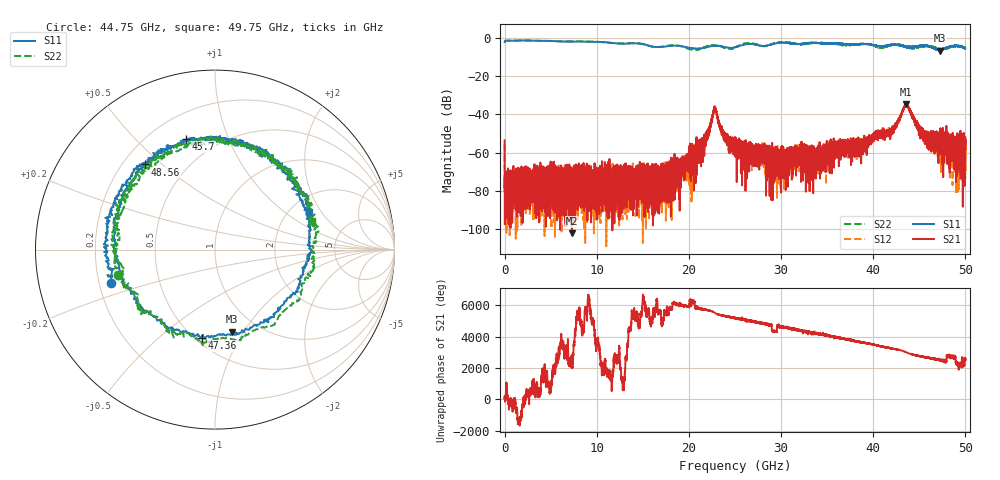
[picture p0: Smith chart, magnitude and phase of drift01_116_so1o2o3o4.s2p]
!Created with skrf (http://scikit-rf.org).
# Hz S RI R 50.0
!freq ReS11 ImS11 ReS21 ImS21 ReS12 ImS12 ReS22 ImS22
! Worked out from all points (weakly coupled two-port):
!   10001 points, 300 kHz to 50 GHz, reference 50 ohm
!   highest |S21| = -34.66 dB at 43.59 GHz (marker M1); lowest = -102.0 dB at 7.3 GHz (marker M2)
!   lowest |S11| = -6.6 dB at 47.21 GHz (marker M3), VSWR 2.75, Z = 38.1 - j44.5 ohm
!   |S11| at or under -10 dB: nowhere
!   |S22| runs from -6.4 to -1.4 dB; largest |S21 - S12| = 0.0036
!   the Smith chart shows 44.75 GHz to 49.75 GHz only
!   S11 on the Smith chart (normalised r, x): 44.75 GHz: 0.25, -0.15; 45.7 GHz: 0.34, +0.71; 47.36 GHz: 0.54, -0.71; 48.56 GHz: 0.29, +0.44; 49.75 GHz: 2.52, +1.53
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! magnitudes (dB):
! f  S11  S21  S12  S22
! 300 kHz  -2.2  -53.5  -55.5  -2.1
! 255.3 MHz  -1.4  -77.7  -76.1  -1.4
! 7.3 GHz  -1.9  -102.0  -75.6  -1.9
! 8.335 GHz  -1.9  -72.4  -73.1  -1.8
! 16.67 GHz  -4.8  -86.5  -74.6  -4.8
! 20.78 GHz  -5.5  -62.7  -60.6  -6.2
! 21.93 GHz  -4.9  -51.7  -49.2  -4.5
! 22.79 GHz  -4.3  -36.6  -36.3  -4.0
! 23.86 GHz  -4.8  -52.9  -50.9  -5.2
! 25 GHz  -5.0  -55.9  -56.7  -5.0
! 29.54 GHz  -2.8  -65.0  -65.2  -2.6
! 33.34 GHz  -2.6  -65.9  -64.1  -2.7
! 38.47 GHz  -3.4  -56.6  -57.4  -3.2
! 41.67 GHz  -3.9  -50.4  -48.6  -4.4
! 43.59 GHz  -4.8  -34.7  -35.0  -4.8
! 44.75 GHz  -4.3  -47.0  -45.1  -5.0
! 45.7 GHz  -3.9  -51.7  -50.9  -4.1
! 47.21 GHz  -6.6  -49.5  -52.5  -5.9
! 47.36 GHz  -6.1  -53.7  -51.5  -5.9
! 48.56 GHz  -4.3  -55.6  -57.7  -4.6
! 49.75 GHz  -5.0  -57.9  -59.2  -5.0
! 50 GHz  -5.4  -55.0  -56.1  -5.3
